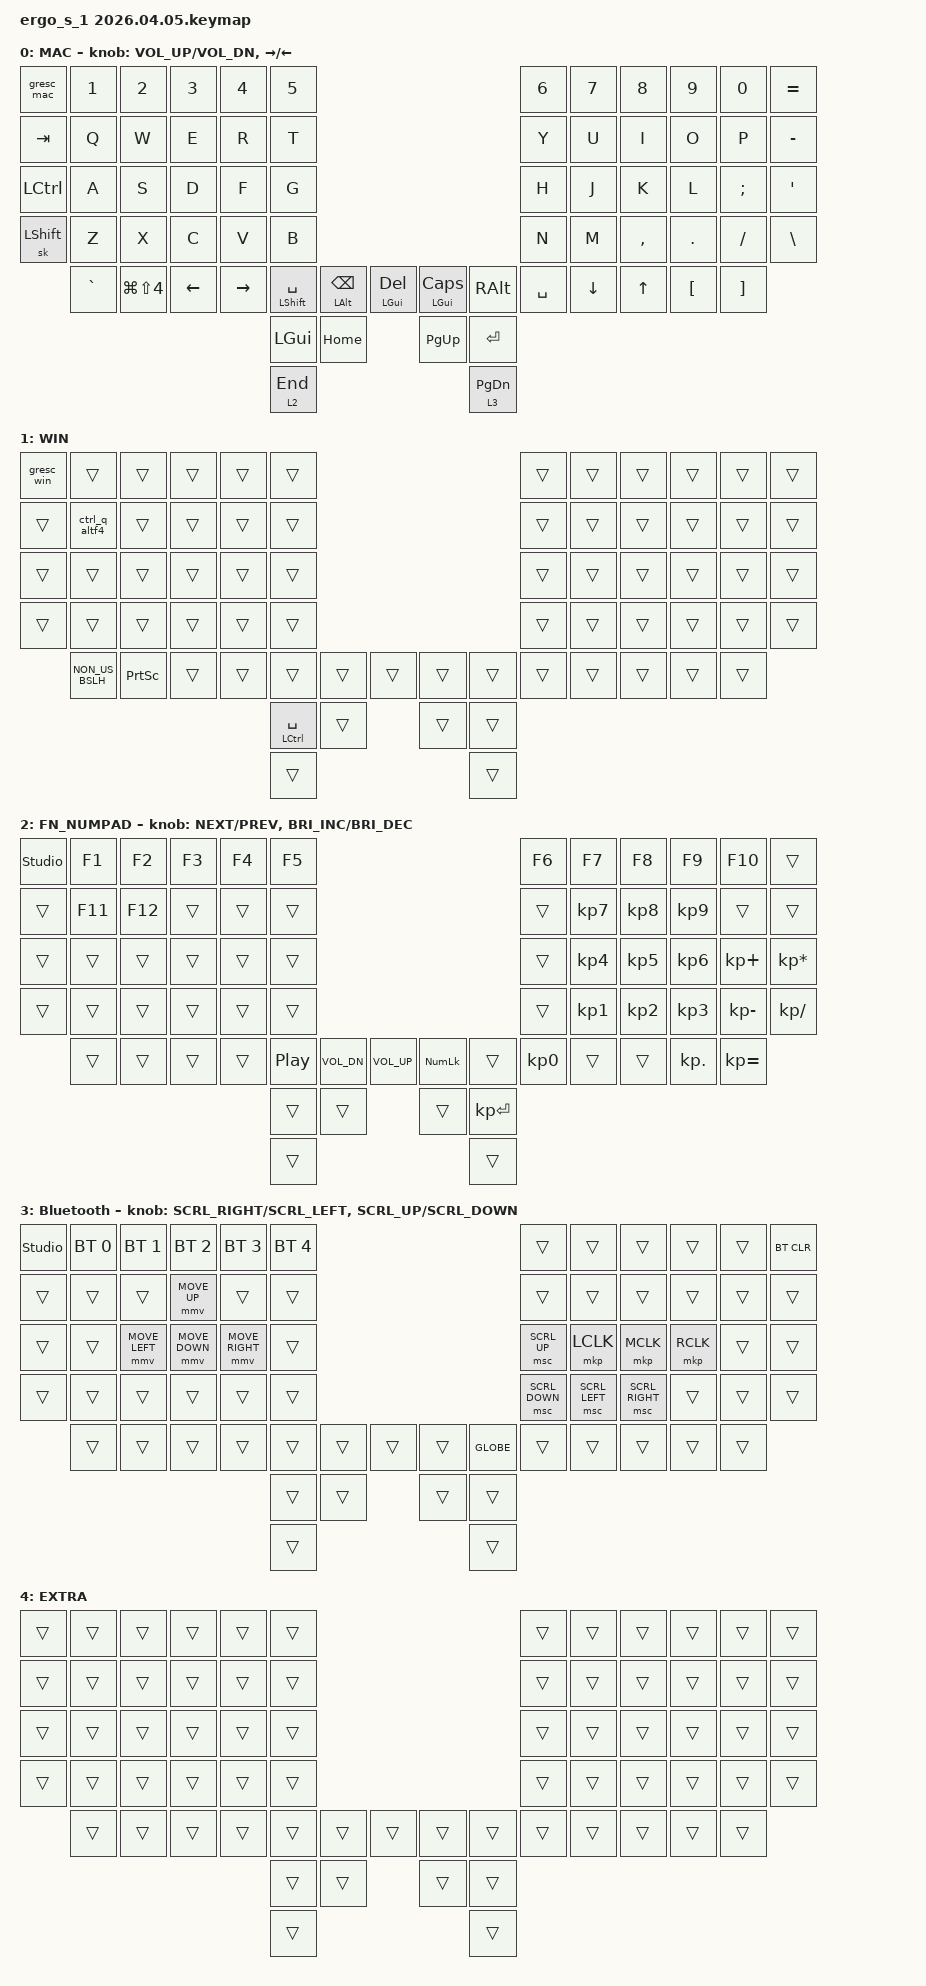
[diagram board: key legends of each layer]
/*
 * Copyright (c) 2021 The ZMK Contributors
 *
 * SPDX-License-Identifier: MIT
 */

#include <behaviors.dtsi>
#include <dt-bindings/zmk/bt.h>
#include <dt-bindings/zmk/keys.h>
#include <dt-bindings/zmk/pointing.h>

#define DEFAULT 0
#define FN      1

&mmv {
    acceleration-exponent = <4>;      // 1 para lineal, 2 para aceleración
    time-to-max-speed-ms = <300>;     // Baja este número para que sea más rápido
    delay-ms = <0>;
};

&msc {
    time-to-max-speed-ms = <300>;
    acceleration-exponent = <2>;
};

&mt {
    tapping-term-ms = <200>;
    flavor = "balanced";
    quick-tap-ms = <175>;
};

/ {
    combos {
        compatible = "zmk,combos";

        combo_backspace {
            timeout-ms = <50>;
            key-positions = <31 32>;
            bindings = <&bspc_del>;
        };

        combo_escape {
            timeout-ms = <50>;
            key-positions = <26 27 28>;
            bindings = <&kp ESCAPE>;
            layers = <0 1>;
        };

        combo_MAC-App-Left {
            bindings = <&kp LC(F4)>;
            key-positions = <40 39>;
            timeout-ms = <50>;
            layers = <0>;
        };

        combo_MAC-App-Right {
            bindings = <&kp LS(LC(F4))>;
            key-positions = <38 39>;
            timeout-ms = <50>;
            layers = <0>;
        };

        combo_WIN-App-Left {
            bindings = <&kp LG(LA(LC(TAB)))>;
            key-positions = <40 39>;
            layers = <1>;
            timeout-ms = <50>;
        };

        combo_WIN-App-Right {
            bindings = <&kp LS(LG(LA(LC(TAB))))>;
            key-positions = <39 38>;
            layers = <1>;
            timeout-ms = <50>;
        };

        combo_TOGGLE-MAC-WIN {
            bindings = <&tog 1>;
            key-positions = <0 11>;
        };

        combo_TAB {
            bindings = <&kp TAB>;
            key-positions = <28 27>;
        };
    };

    behaviors {
        inc_dec_msc: inc_dec_msc {
            compatible = "zmk,behavior-sensor-rotate-var";
            #sensor-binding-cells = <2>;
            bindings = <&msc>, <&msc>;

            tap-ms = <20>;
        };

        gresc_mac: grave_escape_mac {
            compatible = "zmk,behavior-mod-morph";
            #binding-cells = <0>;
            bindings = <&kp ESC>, <&kp NON_US_BSLH>;
            mods = <(MOD_LALT)>;
        };

        gresc_win: grave_escape_win {
            compatible = "zmk,behavior-mod-morph";
            #binding-cells = <0>;
            bindings = <&kp ESC>, <&kp GRAVE>;
            mods = <(MOD_LALT)>;
        };

        bspc_del: backspace_delete {
            compatible = "zmk,behavior-mod-morph";
            #binding-cells = <0>;
            bindings = <&kp BACKSPACE>, <&kp DELETE>;

            mods = <(MOD_LSFT|MOD_RSFT)>;
        };

        ctrl_q_altf4: ctrl_q_altf4 {
            compatible = "zmk,behavior-mod-morph";
            #binding-cells = <0>;
            bindings = <&kp Q>, <&kp LA(F4)>;

            mods = <(MOD_LCTL|MOD_RCTL)>;  // Changed from 'modifiers'
        };

        sk: sticky_key {
            compatible = "zmk,behavior-sticky-key";
            #binding-cells = <1>;
            quick-release;
        };
    };

    keymap {
        compatible = "zmk,keymap";

        MAC {
            bindings = <
&gresc_mac           &kp N1         &kp N2                &kp N3          &kp N4     &kp N5                                                                                                &kp N6     &kp N7          &kp N8     &kp N9    &kp N0     &kp EQUAL
&kp TAB              &kp Q          &kp W                 &kp E           &kp R      &kp T                                                                                                 &kp Y      &kp U           &kp I      &kp O     &kp P      &kp MINUS
&kp LCTRL            &kp A          &kp S                 &kp D           &kp F      &kp G                                                                                                 &kp H      &kp J           &kp K      &kp L     &kp SEMI   &kp SINGLE_QUOTE
&sk LSHIFT           &kp Z          &kp X                 &kp C           &kp V      &kp B                                                                                                 &kp N      &kp M           &kp COMMA  &kp DOT   &kp SLASH  &kp BACKSLASH
                     &kp GRAVE      &kp LG(LS(NUMBER_4))  &kp LEFT_ARROW  &kp RIGHT  &mt LSHIFT SPACE    &mt LEFT_ALT BACKSPACE  &mt LEFT_GUI DEL  &mt LEFT_GUI CAPS  &kp RIGHT_ALT        &kp SPACE  &kp DOWN_ARROW  &kp UP     &kp LBKT  &kp RBKT
                                                                                     &kp LEFT_GUI        &kp HOME                                  &kp PG_UP          &kp ENTER
                                                                                     &lt 2 END                                                                        &lt 3 PAGE_DOWN
            >;

            sensor-bindings =
                <&inc_dec_kp C_VOL_UP C_VOL_DN>,
                <&inc_dec_kp RIGHT_ARROW LEFT_ARROW>;
        };

        WIN {
            bindings = <
&gresc_win &trans           &trans           &trans  &trans  &trans                                                  &trans  &trans  &trans  &trans  &trans  &trans
&trans     &ctrl_q_altf4    &trans           &trans  &trans  &trans                                                  &trans  &trans  &trans  &trans  &trans  &trans
&trans     &trans           &trans           &trans  &trans  &trans                                                  &trans  &trans  &trans  &trans  &trans  &trans
&trans     &trans           &trans           &trans  &trans  &trans                                                  &trans  &trans  &trans  &trans  &trans  &trans
           &kp NON_US_BSLH  &kp PRINTSCREEN  &trans  &trans  &trans                  &trans  &trans  &trans  &trans  &trans  &trans  &trans  &trans  &trans
                                                             &mt LEFT_CONTROL SPACE  &trans          &trans  &trans
                                                             &trans                                  &trans
            >;
        };

        FN_NUMPAD {
            bindings = <
&studio_unlock  &kp F1   &kp F2   &kp F3   &kp F4   &kp F5                                                          &kp F6           &kp F7           &kp F8           &kp F9           &kp F10          &trans
&trans          &kp F11  &kp F12  &trans   &trans   &trans                                                          &trans           &kp KP_NUMBER_7  &kp KP_NUMBER_8  &kp KP_NUMBER_9  &trans           &trans
&trans          &trans   &trans   &trans   &trans   &trans                                                          &trans           &kp KP_NUMBER_4  &kp KP_NUMBER_5  &kp KP_NUMBER_6  &kp KP_PLUS      &kp KP_MULTIPLY
&trans          &trans   &trans   &trans   &trans   &trans                                                          &trans           &kp KP_NUMBER_1  &kp KP_NUMBER_2  &kp KP_NUMBER_3  &kp KP_SUBTRACT  &kp KP_DIVIDE
                &trans   &trans   &trans   &trans   &kp C_PP  &kp C_VOL_DN  &kp C_VOL_UP  &kp KP_NUMLOCK  &trans    &kp KP_NUMBER_0  &trans           &trans           &kp KP_DOT       &kp KP_EQUAL
                                                              &trans    &trans                      &trans          &kp KP_ENTER
                                                              &trans                                                &trans
            >;

            sensor-bindings =
                <&inc_dec_kp C_NEXT C_PREV>,
                <&inc_dec_kp C_BRIGHTNESS_INC C_BRIGHTNESS_DEC>;
        };

        Bluetooth {
            bindings = <
&studio_unlock   &bt BT_SEL 0  &bt BT_SEL 1    &bt BT_SEL 2    &bt BT_SEL 3     &bt BT_SEL 4                                     &trans          &trans          &trans           &trans     &trans  &bt BT_CLR
&trans           &trans        &trans          &mmv MOVE_UP    &trans           &trans                                           &trans          &trans          &trans           &trans     &trans  &trans
&trans           &trans        &mmv MOVE_LEFT  &mmv MOVE_DOWN  &mmv MOVE_RIGHT  &trans                                           &msc SCRL_UP    &mkp LCLK       &mkp MCLK        &mkp RCLK  &trans  &trans
&trans           &trans        &trans          &trans          &trans           &trans                                           &msc SCRL_DOWN  &msc SCRL_LEFT  &msc SCRL_RIGHT  &trans     &trans  &trans
                 &trans        &trans          &trans          &trans           &trans        &trans  &trans  &trans  &kp GLOBE  &trans          &trans          &trans           &trans     &trans
                                                                           &trans        &trans          &trans  &trans
                                                                           &trans                                &trans
            >;

            sensor-bindings =
                <&inc_dec_msc SCRL_RIGHT SCRL_LEFT>,
                <&inc_dec_msc SCRL_UP SCRL_DOWN>;
        };

        EXTRA {
            bindings = <
&trans  &trans  &trans  &trans  &trans  &trans                                  &trans  &trans  &trans  &trans  &trans  &trans
&trans  &trans  &trans  &trans  &trans  &trans                                  &trans  &trans  &trans  &trans  &trans  &trans
&trans  &trans  &trans  &trans  &trans  &trans                                  &trans  &trans  &trans  &trans  &trans  &trans
&trans  &trans  &trans  &trans  &trans  &trans                                  &trans  &trans  &trans  &trans  &trans  &trans
        &trans  &trans  &trans  &trans  &trans  &trans  &trans  &trans  &trans  &trans  &trans  &trans  &trans  &trans
                                        &trans  &trans          &trans  &trans
                                        &trans                          &trans
            >;
        };
    };
};
